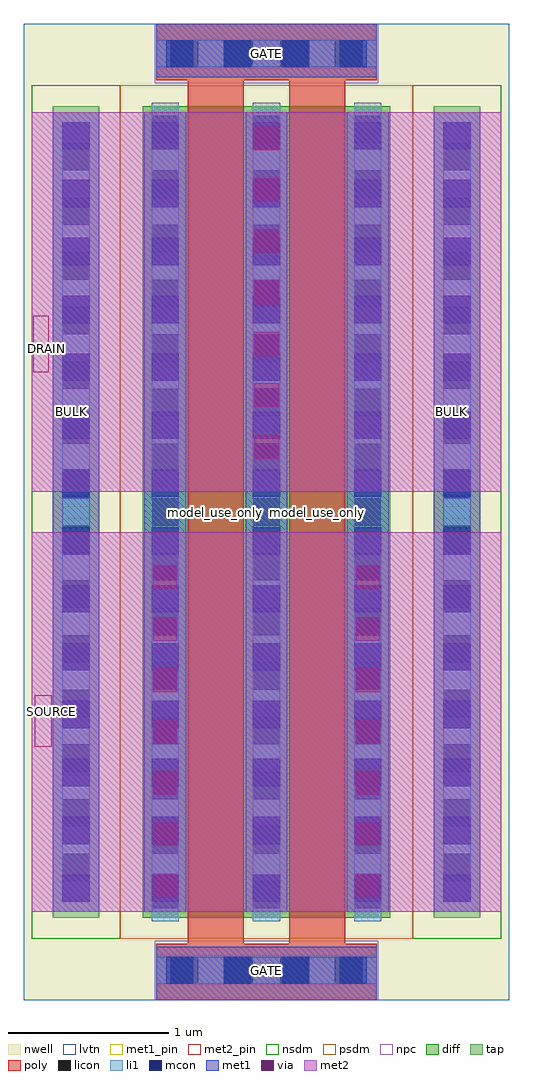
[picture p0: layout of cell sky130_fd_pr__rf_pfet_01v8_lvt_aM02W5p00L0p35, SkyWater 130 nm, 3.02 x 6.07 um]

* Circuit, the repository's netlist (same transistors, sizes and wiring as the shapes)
* Copyright 2020 The SkyWater PDK Authors
*
* Licensed under the Apache License, Version 2.0 (the "License");
* you may not use this file except in compliance with the License.
* You may obtain a copy of the License at
*
*     https://www.apache.org/licenses/LICENSE-2.0
*
* Unless required by applicable law or agreed to in writing, software
* distributed under the License is distributed on an "AS IS" BASIS,
* WITHOUT WARRANTIES OR CONDITIONS OF ANY KIND, either express or implied.
* See the License for the specific language governing permissions and
* limitations under the License.
*
* SPDX-License-Identifier: Apache-2.0


.subckt sky130_fd_pr__rf_pfet_01v8_lvt_aM02W5p00L0p35 BULK DRAIN GATE SOURCE
X0 DRAIN GATE SOURCE BULK sky130_fd_pr__pfet_01v8_lvt w=5.05e+06u l=350000u
X1 SOURCE GATE DRAIN BULK sky130_fd_pr__pfet_01v8_lvt w=5.05e+06u l=350000u
.ends

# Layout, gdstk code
import gdstk
lib = gdstk.Library(unit=1e-6, precision=1e-09)
def R(c, l, rs):  # rectangles x0, y0, x1, y1
    for r in rs: c.add(gdstk.rectangle(r[:2], r[2:], *l))
def A(c, l, x, y, w, h, nx, ny, dx, dy):  # array of equal rectangles
    R(c, l, [(x+i*dx, y+j*dy, x+i*dx+w, y+j*dy+h) for i in range(nx) for j in range(ny)])
nwell = (64, 20)
diff = (65, 20)
tap = (65, 44)
poly = (66, 20)
licon = (66, 44)
li1 = (67, 20)
mcon = (67, 44)
met1_pin = (68, 16)
met1 = (68, 20)
via = (68, 44)
met2_pin = (69, 16)
met2 = (69, 20)
nsdm = (93, 44)
psdm = (94, 20)
npc = (95, 20)
lvtn = (125, 44)

sky130_fd_pr__rf_pfet_01 = lib.new_cell('sky130_fd_pr__rf_pfet_01v8_lvt_aM02W5p00L0p35')
R(sky130_fd_pr__rf_pfet_01, nwell, [(0,0,3.02,6.07)])
R(sky130_fd_pr__rf_pfet_01, diff, [(0.74,0.51,2.28,5.56)])
R(sky130_fd_pr__rf_pfet_01, tap, [(0.18,0.51,0.47,5.56), (2.55,0.51,2.84,5.56)])
R(sky130_fd_pr__rf_pfet_01, poly, [(0.825,0,2.195,0.35), (1.02,0.35,1.37,5.72), (1.65,0.35,2,5.72), (0.825,5.72,2.195,6.07)])
A(sky130_fd_pr__rf_pfet_01, licon, 0.915, 0.1, 0.17, 0.17, 4, 2, 0.34, 5.7)
A(sky130_fd_pr__rf_pfet_01, licon, 0.795, 0.57, 0.17, 0.17, 3, 15, 0.63, 0.34)
A(sky130_fd_pr__rf_pfet_01, licon, 0.24, 0.74, 0.17, 0.17, 1, 14, 0, 0.34)
A(sky130_fd_pr__rf_pfet_01, licon, 2.61, 0.74, 0.17, 0.17, 1, 14, 0, 0.34)
A(sky130_fd_pr__rf_pfet_01, li1, 0.795, 0.49, 0.17, 5.09, 3, 1, 0.63, 0)
A(sky130_fd_pr__rf_pfet_01, li1, 0.795, 1.69, 0.17, 2.69, 3, 1, 0.63, 0)
R(sky130_fd_pr__rf_pfet_01, li1, [(0.825,0.1,2.195,0.27), (0.24,0.61,0.41,5.46), (2.61,0.61,2.78,5.46), (0.24,0.66,0.41,5.41), (2.61,0.66,2.78,5.41), (0.24,1.68,0.41,4.39), (2.61,1.68,2.78,4.39), (0.825,5.8,2.195,5.97)])
A(sky130_fd_pr__rf_pfet_01, mcon, 0.885, 0.1, 0.17, 0.17, 4, 2, 0.36, 5.7)
A(sky130_fd_pr__rf_pfet_01, mcon, 0.24, 0.61, 0.17, 0.17, 1, 14, 0, 0.36)
A(sky130_fd_pr__rf_pfet_01, mcon, 0.795, 0.61, 0.17, 0.17, 3, 14, 0.63, 0.36)
A(sky130_fd_pr__rf_pfet_01, mcon, 2.61, 0.61, 0.17, 0.17, 1, 14, 0, 0.36)
R(sky130_fd_pr__rf_pfet_01, met1_pin, [(0.825,0,2.195,0.33), (0.245,2.99,0.415,3.07), (2.605,2.99,2.775,3.07), (0.825,5.74,2.195,6.07)])
A(sky130_fd_pr__rf_pfet_01, met1, 0.75, 0.55, 0.26, 4.97, 3, 1, 0.63, 0)
R(sky130_fd_pr__rf_pfet_01, met1, [(0.825,0,2.195,0.33), (0.18,0.55,0.47,5.52), (0.75,0.55,1.01,2.79), (2.01,0.55,2.27,2.79), (2.55,0.55,2.84,5.52), (1.38,3.28,1.64,5.52), (0.825,5.74,2.195,6.07)])
A(sky130_fd_pr__rf_pfet_01, via, 0.805, 0.635, 0.15, 0.15, 1, 7, 0, 0.32)
A(sky130_fd_pr__rf_pfet_01, via, 2.065, 0.635, 0.15, 0.15, 1, 7, 0, 0.32)
A(sky130_fd_pr__rf_pfet_01, via, 1.435, 3.365, 0.15, 0.15, 1, 7, 0, 0.32)
R(sky130_fd_pr__rf_pfet_01, met2_pin, [(0.07,1.575,0.175,1.895), (0.06,3.905,0.155,4.255)])
R(sky130_fd_pr__rf_pfet_01, met2, [(0.05,0.55,2.97,2.91), (0.75,0.55,1.01,2.79), (2.01,0.55,2.27,2.79), (0.05,3.16,2.97,5.52), (1.38,3.28,1.64,5.52)])
R(sky130_fd_pr__rf_pfet_01, nsdm, [(0.05,0.38,0.6,5.69), (2.42,0.38,2.97,5.69)])
R(sky130_fd_pr__rf_pfet_01, psdm, [(0.6,0.38,2.42,5.69)])
R(sky130_fd_pr__rf_pfet_01, npc, [(0.815,0,2.205,0.37), (0.815,5.7,2.205,6.07)])
R(sky130_fd_pr__rf_pfet_01, lvtn, [(0,0,3.02,6.07)])
sky130_fd_pr__rf_pfet_01.add(gdstk.Label('model_use_only', (1.825,3.03), layer=66, texttype=83))
sky130_fd_pr__rf_pfet_01.add(gdstk.Label('model_use_only', (1.195,3.03), layer=66, texttype=83))
sky130_fd_pr__rf_pfet_01.add(gdstk.Label('DRAIN', (0.14,4.05), layer=69, texttype=5))
sky130_fd_pr__rf_pfet_01.add(gdstk.Label('SOURCE', (0.175,1.795), layer=69, texttype=5))
sky130_fd_pr__rf_pfet_01.add(gdstk.Label('GATE', (1.51,0.185), layer=68, texttype=5))
sky130_fd_pr__rf_pfet_01.add(gdstk.Label('GATE', (1.51,5.885), layer=68, texttype=5))
sky130_fd_pr__rf_pfet_01.add(gdstk.Label('BULK', (0.3,3.66), layer=68, texttype=5))
sky130_fd_pr__rf_pfet_01.add(gdstk.Label('BULK', (2.66,3.66), layer=68, texttype=5))

lib.write_gds('sky130_fd_pr__rf_pfet_01v8_lvt_aM02W5p00L0p35.gds')
